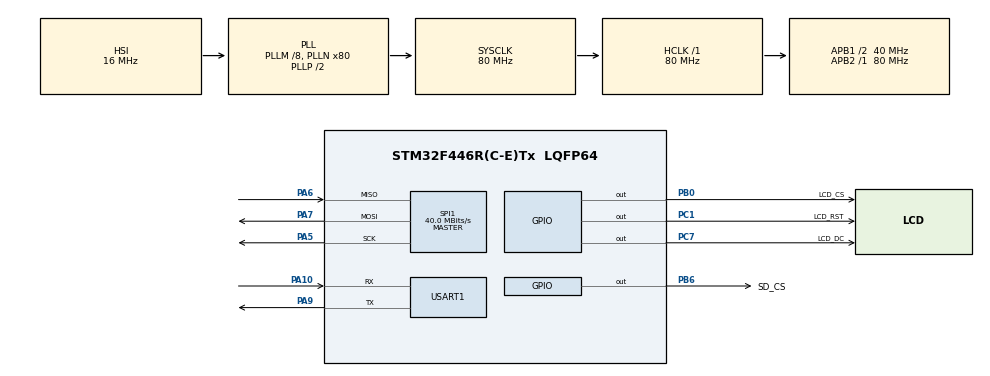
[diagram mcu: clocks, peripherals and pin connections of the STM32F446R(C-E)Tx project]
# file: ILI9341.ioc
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Mcu.Family=STM32F4
Mcu.Name=STM32F446R(C-E)Tx
Mcu.Package=LQFP64
NVIC.PriorityGroup=NVIC_PRIORITYGROUP_4
NVIC.USART1_IRQn=true\:0\:0\:false\:false\:true\:true\:true\:true
PA10.Mode=Asynchronous
PA10.Signal=USART1_RX
PA5.Mode=Full_Duplex_Master
PA5.Signal=SPI1_SCK
PA6.Mode=Full_Duplex_Master
PA6.Signal=SPI1_MISO
PA7.Mode=Full_Duplex_Master
PA7.Signal=SPI1_MOSI
PA9.Mode=Asynchronous
PA9.Signal=USART1_TX
PB0.GPIO_Label=LCD_CS
PB0.GPIO_Speed=GPIO_SPEED_FREQ_HIGH
PB0.Signal=GPIO_Output
PB6.GPIO_Label=SD_CS
PB6.GPIO_Speed=GPIO_SPEED_FREQ_MEDIUM
PB6.PinState=GPIO_PIN_SET
PB6.Signal=GPIO_Output
PC1.GPIO_Label=LCD_RST
PC1.GPIO_Speed=GPIO_SPEED_FREQ_HIGH
PC1.Signal=GPIO_Output
PC7.GPIO_Label=LCD_DC
PC7.Signal=GPIO_Output
PH0-OSC_IN.Mode=HSE-External-Oscillator
PH0-OSC_IN.Signal=RCC_OSC_IN
PH1-OSC_OUT.Mode=HSE-External-Oscillator
PH1-OSC_OUT.Signal=RCC_OSC_OUT
ProjectManager.HeapSize=0x200
ProjectManager.StackSize=0x400
ProjectManager.TargetToolchain=STM32CubeIDE
RCC.AHBFreq_Value=80000000
RCC.APB1CLKDivider=RCC_HCLK_DIV2
RCC.APB1Freq_Value=40000000
RCC.APB1TimFreq_Value=80000000
RCC.APB2Freq_Value=80000000
RCC.APB2TimFreq_Value=80000000
RCC.CortexFreq_Value=80000000
RCC.HCLKFreq_Value=80000000
RCC.PLLM=8
RCC.PLLN=80
RCC.SYSCLKFreq_VALUE=80000000
RCC.SYSCLKSource=RCC_SYSCLKSOURCE_PLLCLK
RCC.USBFreq_Value=80000000
RCC.VCOOutputFreq_Value=160000000
SPI1.CalculateBaudRate=40.0 MBits/s
SPI1.Direction=SPI_DIRECTION_2LINES
SPI1.Mode=SPI_MODE_MASTER
SPI1.VirtualType=VM_MASTER
USART1.VirtualMode=VM_ASYNC
board=custom

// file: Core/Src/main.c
/* USER CODE BEGIN Header */
/**
   ******************************************************************************
 Universidad Del Valle De Guatemala
 IE2023: Electrónica digital 2
 Autor: Samuel Tortola - 22094, Alan Gomez - 22115
 Proyecto: Video juego
 Hardware: STM32
 Creado: 30/09/2024
 Última modificación: 3/10/2024
******************************************************************************
 **/

/* USER CODE END Header */
#include "main.h"

/* USER CODE BEGIN Includes */
#include "ili9341.h"
#include "stm32f4xx_hal.h"      // Para la HAL del STM32
#include "stm32f4xx_hal_spi.h"  // Para el manejo de SPI

/* USER CODE END Includes */

SPI_HandleTypeDef hspi1;

UART_HandleTypeDef huart1;

/* USER CODE BEGIN PV */
extern uint8_t fondo[];

uint8_t rx_data[1]; // Solo para recibir byte por byte
char rx_buffer[500];  // Buffer de recepción
uint8_t activa = 0;

/* USER CODE END PV */

void SystemClock_Config(void);
static void MX_GPIO_Init(void);
static void MX_SPI1_Init(void);
static void MX_USART1_UART_Init(void);

int main(void)
{

  /* MCU Configuration--------------------------------------------------------*/

  /* Reset of all peripherals, Initializes the Flash interface and the Systick. */
  HAL_Init();

  /* Configure the system clock */
  SystemClock_Config();

  /* Initialize all configured peripherals */
  MX_GPIO_Init();
  MX_SPI1_Init();
  MX_USART1_UART_Init();
  /* USER CODE BEGIN 2 */

   HAL_UART_Receive_IT(&huart1,rx_data, 1);  // Empezar la recepción por UART1 en modo interrupción

	LCD_Init();

	LCD_Clear(0x00);
//	FillRect(0, 0, 319, 239, 0xFFFF);
	//FillRect(50, 60, 20, 20, 0xF800);
	//FillRect(70, 60, 20, 20, 0x07E0);
	//FillRect(90, 60, 20, 20, 0x001F);

	// FillRect(0, 0, 319, 206, 0x1911);

	//  LCD_Print("Hola Mundo", 20, 100, 1, 0x001F, 0xCAB9);

  /* USER CODE END 2 */

  /* Infinite loop */
	while (1) {

    /* USER CODE BEGIN 3 */

		if(activa == 1){
			LCD_Clear(0x00);
			FillRect(50, 60, 20, 20, 0xF800);
			FillRect(70, 60, 20, 20, 0x07E0);
			FillRect(90, 60, 20, 20, 0x001F);
			activa = 0;
		}

		else if(activa == 2){
			LCD_Clear(0x00);

			LCD_Bitmap(0, 0, 320, 240, fondo);
			activa = 0;
			}
	}
  /* USER CODE END 3 */
}

void SystemClock_Config(void)
{
  RCC_OscInitTypeDef RCC_OscInitStruct = {0};
  RCC_ClkInitTypeDef RCC_ClkInitStruct = {0};

  /** Configure the main internal regulator output voltage
  */
  __HAL_RCC_PWR_CLK_ENABLE();
  __HAL_PWR_VOLTAGESCALING_CONFIG(PWR_REGULATOR_VOLTAGE_SCALE3);

  /** Initializes the RCC Oscillators according to the specified parameters
  * in the RCC_OscInitTypeDef structure.
  */
  RCC_OscInitStruct.OscillatorType = RCC_OSCILLATORTYPE_HSI;
  RCC_OscInitStruct.HSIState = RCC_HSI_ON;
  RCC_OscInitStruct.HSICalibrationValue = RCC_HSICALIBRATION_DEFAULT;
  RCC_OscInitStruct.PLL.PLLState = RCC_PLL_ON;
  RCC_OscInitStruct.PLL.PLLSource = RCC_PLLSOURCE_HSI;
  RCC_OscInitStruct.PLL.PLLM = 8;
  RCC_OscInitStruct.PLL.PLLN = 80;
  RCC_OscInitStruct.PLL.PLLP = RCC_PLLP_DIV2;
  RCC_OscInitStruct.PLL.PLLQ = 2;
  RCC_OscInitStruct.PLL.PLLR = 2;
  if (HAL_RCC_OscConfig(&RCC_OscInitStruct) != HAL_OK)
  {
    Error_Handler();
  }

  /** Initializes the CPU, AHB and APB buses clocks
  */
  RCC_ClkInitStruct.ClockType = RCC_CLOCKTYPE_HCLK|RCC_CLOCKTYPE_SYSCLK
                              |RCC_CLOCKTYPE_PCLK1|RCC_CLOCKTYPE_PCLK2;
  RCC_ClkInitStruct.SYSCLKSource = RCC_SYSCLKSOURCE_PLLCLK;
  RCC_ClkInitStruct.AHBCLKDivider = RCC_SYSCLK_DIV1;
  RCC_ClkInitStruct.APB1CLKDivider = RCC_HCLK_DIV2;
  RCC_ClkInitStruct.APB2CLKDivider = RCC_HCLK_DIV1;

  if (HAL_RCC_ClockConfig(&RCC_ClkInitStruct, FLASH_LATENCY_2) != HAL_OK)
  {
    Error_Handler();
  }
}

static void MX_SPI1_Init(void)
{

  /* SPI1 parameter configuration*/
  hspi1.Instance = SPI1;
  hspi1.Init.Mode = SPI_MODE_MASTER;
  hspi1.Init.Direction = SPI_DIRECTION_2LINES;
  hspi1.Init.DataSize = SPI_DATASIZE_8BIT;
  hspi1.Init.CLKPolarity = SPI_POLARITY_LOW;
  hspi1.Init.CLKPhase = SPI_PHASE_1EDGE;
  hspi1.Init.NSS = SPI_NSS_SOFT;
  hspi1.Init.BaudRatePrescaler = SPI_BAUDRATEPRESCALER_2;
  hspi1.Init.FirstBit = SPI_FIRSTBIT_MSB;
  hspi1.Init.TIMode = SPI_TIMODE_DISABLE;
  hspi1.Init.CRCCalculation = SPI_CRCCALCULATION_DISABLE;
  hspi1.Init.CRCPolynomial = 10;
  if (HAL_SPI_Init(&hspi1) != HAL_OK)
  {
    Error_Handler();
  }

}

static void MX_USART1_UART_Init(void)
{

  huart1.Instance = USART1;
  huart1.Init.BaudRate = 115200;
  huart1.Init.WordLength = UART_WORDLENGTH_8B;
  huart1.Init.StopBits = UART_STOPBITS_1;
  huart1.Init.Parity = UART_PARITY_NONE;
  huart1.Init.Mode = UART_MODE_TX_RX;
  huart1.Init.HwFlowCtl = UART_HWCONTROL_NONE;
  huart1.Init.OverSampling = UART_OVERSAMPLING_16;
  if (HAL_UART_Init(&huart1) != HAL_OK)
  {
    Error_Handler();
  }

}

static void MX_GPIO_Init(void)
{
  GPIO_InitTypeDef GPIO_InitStruct = {0};

  /* GPIO Ports Clock Enable */
  __HAL_RCC_GPIOH_CLK_ENABLE();
  __HAL_RCC_GPIOC_CLK_ENABLE();
  __HAL_RCC_GPIOA_CLK_ENABLE();
  __HAL_RCC_GPIOB_CLK_ENABLE();

  /*Configure GPIO pin Output Level */
  HAL_GPIO_WritePin(GPIOC, LCD_RST_Pin|LCD_DC_Pin, GPIO_PIN_RESET);

  /*Configure GPIO pin Output Level */
  HAL_GPIO_WritePin(LCD_CS_GPIO_Port, LCD_CS_Pin, GPIO_PIN_RESET);

  /*Configure GPIO pin Output Level */
  HAL_GPIO_WritePin(SD_CS_GPIO_Port, SD_CS_Pin, GPIO_PIN_SET);

  /*Configure GPIO pin : LCD_RST_Pin */
  GPIO_InitStruct.Pin = LCD_RST_Pin;
  GPIO_InitStruct.Mode = GPIO_MODE_OUTPUT_PP;
  GPIO_InitStruct.Pull = GPIO_NOPULL;
  GPIO_InitStruct.Speed = GPIO_SPEED_FREQ_HIGH;
  HAL_GPIO_Init(LCD_RST_GPIO_Port, &GPIO_InitStruct);

  /*Configure GPIO pin : LCD_CS_Pin */
  GPIO_InitStruct.Pin = LCD_CS_Pin;
  GPIO_InitStruct.Mode = GPIO_MODE_OUTPUT_PP;
  GPIO_InitStruct.Pull = GPIO_NOPULL;
  GPIO_InitStruct.Speed = GPIO_SPEED_FREQ_HIGH;
  HAL_GPIO_Init(LCD_CS_GPIO_Port, &GPIO_InitStruct);

  /*Configure GPIO pin : LCD_DC_Pin */
  GPIO_InitStruct.Pin = LCD_DC_Pin;
  GPIO_InitStruct.Mode = GPIO_MODE_OUTPUT_PP;
  GPIO_InitStruct.Pull = GPIO_NOPULL;
  GPIO_InitStruct.Speed = GPIO_SPEED_FREQ_LOW;
  HAL_GPIO_Init(LCD_DC_GPIO_Port, &GPIO_InitStruct);

  /*Configure GPIO pin : SD_CS_Pin */
  GPIO_InitStruct.Pin = SD_CS_Pin;
  GPIO_InitStruct.Mode = GPIO_MODE_OUTPUT_PP;
  GPIO_InitStruct.Pull = GPIO_NOPULL;
  GPIO_InitStruct.Speed = GPIO_SPEED_FREQ_MEDIUM;
  HAL_GPIO_Init(SD_CS_GPIO_Port, &GPIO_InitStruct);

}

/* USER CODE BEGIN 4 */

void HAL_UART_RxCpltCallback(UART_HandleTypeDef *huart)
{

	 if (huart->Instance == USART1) // Verificar si la interrupción es de UART1
	  {

		 if (rx_data[0] == '1'){
			 activa = 1;
		}

		 else if (rx_data[0] == '2'){
		 		 activa = 2;
		 }

	  }

	 // Volver a habilitar la recepción por UART1
	 	   HAL_UART_Receive_IT(&huart1, rx_data, 1);
}

/* USER CODE END 4 */

void Error_Handler(void)
{
	__disable_irq();
	while (1) {
	}
}
